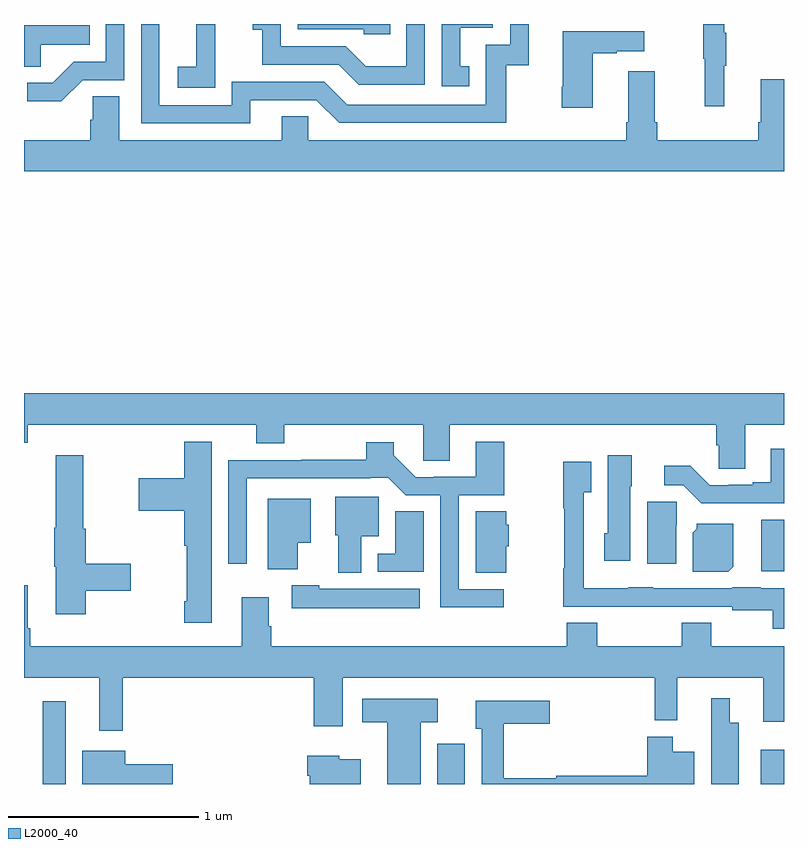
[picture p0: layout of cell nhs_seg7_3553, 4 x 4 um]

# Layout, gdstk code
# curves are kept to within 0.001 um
import gdstk
lib = gdstk.Library(unit=1e-6, precision=1e-09)
def R(c, l, rs):  # rectangles x0, y0, x1, y1
    for r in rs: c.add(gdstk.rectangle(r[:2], r[2:], *l))
def P(c, l, *ps):  # polygons
    for p in ps: c.add(gdstk.Polygon(p, *l))
L2000_40 = (2000, 40)

nhs_seg7_3553 = lib.new_cell('nhs_seg7_3553')
R(nhs_seg7_3553, L2000_40, [(337.098,1056,337.219,1056.436), (339.176,1056,339.319,1056.211), (340.877,1056,341,1056.181), (340.88,1057.121,341,1057.39)])
P(nhs_seg7_3553, L2000_40, [(338.927,1060),(338.442,1060),(338.442,1059.972),(338.787,1059.972),(338.787,1059.945),(338.927,1059.945)],
  [(337.308,1059.705),(337.527,1059.705),(337.527,1060),(337.431,1060),(337.431,1059.801),(337.262,1059.801),(337.151,1059.69),(337.017,1059.69),(337.017,1059.593),(337.195,1059.593)],
  [(339.108,1060),(339.012,1060),(339.012,1059.778),(338.798,1059.778),(338.694,1059.882),(338.352,1059.882),(338.352,1060),(338.205,1060),(338.205,1059.971),(338.254,1059.971),(338.254,1059.786),(338.657,1059.786),(338.762,1059.681),(339.108,1059.681)],
  [(339.344,1059.777),(339.295,1059.777),(339.295,1059.981),(339.468,1059.981),(339.468,1060),(339.198,1060),(339.198,1059.672),(339.344,1059.672)],
  [(340.685,1059.779),(340.696,1059.779),(340.696,1059.953),(340.685,1059.953),(340.685,1060),(340.575,1060),(340.575,1059.816),(340.582,1059.816),(340.582,1059.567),(340.685,1059.567)],
  [(338.191,1059.6),(338.538,1059.6),(338.658,1059.48),(339.538,1059.48),(339.538,1059.783),(339.656,1059.783),(339.656,1060),(339.558,1060),(339.558,1059.891),(339.429,1059.891),(339.429,1059.576),(338.7,1059.576),(338.58,1059.696),(338.094,1059.696),(338.094,1059.573),(337.713,1059.573),(337.713,1060),(337.617,1060),(337.617,1059.477),(338.191,1059.477)],
  [(338.007,1059.871),(338.006,1059.871),(338.006,1060),(337.907,1060),(337.907,1059.775),(337.809,1059.775),(337.809,1059.665),(338.007,1059.665)],
  [(337.089,1059.89),(337.346,1059.89),(337.346,1059.994),(337,1059.994),(337,1059.775),(337.089,1059.775)],
  [(339.994,1059.847),(340.121,1059.847),(340.121,1059.857),(340.264,1059.857),(340.264,1059.961),(339.836,1059.961),(339.836,1059.67),(339.829,1059.67),(339.829,1059.558),(339.994,1059.558)],
  [(341,1059.709),(340.877,1059.709),(340.877,1059.484),(340.865,1059.484),(340.865,1059.388),(340.334,1059.388),(340.334,1059.484),(340.321,1059.484),(340.321,1059.751),(340.181,1059.751),(340.181,1059.484),(340.169,1059.484),(340.169,1059.388),(338.496,1059.388),(338.496,1059.515),(338.357,1059.515),(338.357,1059.388),(337.501,1059.388),(337.501,1059.62),(337.362,1059.62),(337.362,1059.497),(337.349,1059.497),(337.349,1059.388),(337,1059.388),(337,1059.224),(341,1059.224)],
  [(340.795,1057.892),(341,1057.892),(341,1058.056),(337,1058.056),(337,1057.796),(337.019,1057.796),(337.019,1057.892),(338.222,1057.892),(338.222,1057.793),(338.37,1057.793),(338.37,1057.892),(339.102,1057.892),(339.102,1057.702),(339.241,1057.702),(339.241,1057.892),(340.643,1057.892),(340.643,1057.782),(340.656,1057.782),(340.656,1057.66),(340.795,1057.66)],
  [(339.526,1057.026),(339.288,1057.026),(339.288,1057.521),(339.528,1057.521),(339.528,1057.801),(339.377,1057.801),(339.377,1057.617),(339.157,1057.617),(339.157,1057.614),(339.063,1057.614),(338.947,1057.73),(338.947,1057.798),(338.8,1057.798),(338.8,1057.706),(338.458,1057.706),(338.458,1057.704),(338.076,1057.704),(338.076,1057.158),(338.172,1057.158),(338.173,1057.608),(338.822,1057.608),(338.822,1057.611),(338.918,1057.611),(339.008,1057.521),(339.192,1057.521),(339.192,1056.929),(339.526,1056.929)],
  [(337.987,1057.801),(337.844,1057.801),(337.844,1057.609),(337.605,1057.609),(337.605,1057.439),(337.844,1057.439),(337.844,1057.255),(337.856,1057.255),(337.856,1056.961),(337.844,1056.961),(337.844,1056.849),(337.987,1056.849)],
  [(341,1057.765),(340.931,1057.765),(340.931,1057.588),(340.835,1057.588),(340.835,1057.575),(340.708,1057.575),(340.708,1057.572),(340.608,1057.572),(340.506,1057.675),(340.371,1057.675),(340.371,1057.572),(340.47,1057.572),(340.564,1057.478),(341,1057.478)],
  [(337.325,1057.018),(337.561,1057.018),(337.561,1057.16),(337.325,1057.16),(337.325,1057.343),(337.312,1057.343),(337.312,1057.729),(337.166,1057.729),(337.166,1057.349),(337.159,1057.349),(337.159,1057.143),(337.166,1057.143),(337.166,1056.894),(337.325,1056.894)],
  [(340.192,1057.566),(340.198,1057.566),(340.198,1057.729),(340.073,1057.729),(340.073,1057.32),(340.055,1057.32),(340.055,1057.176),(340.192,1057.176)],
  [(341,1057.03),(340.878,1057.03),(340.878,1057.036),(340.728,1057.036),(340.728,1057.029),(340.311,1057.029),(340.311,1057.036),(340.179,1057.036),(340.179,1057.03),(339.945,1057.03),(339.945,1057.535),(339.985,1057.535),(339.985,1057.696),(339.837,1057.696),(339.837,1057.451),(339.844,1057.451),(339.844,1057.136),(339.837,1057.136),(339.837,1056.933),(340.079,1056.933),(340.079,1056.932),(340.311,1056.932),(340.311,1056.933),(340.728,1056.933),(340.728,1056.914),(340.941,1056.914),(340.941,1056.816),(341,1056.816)],
  [(338.776,1057.304),(338.866,1057.304),(338.866,1057.513),(338.639,1057.513),(338.639,1057.308),(338.654,1057.308),(338.654,1057.112),(338.776,1057.112)],
  [(338.44,1057.271),(338.509,1057.271),(338.509,1057.501),(338.282,1057.501),(338.282,1057.13),(338.44,1057.13)],
  [(340.432,1057.362),(340.436,1057.362),(340.436,1057.485),(340.28,1057.485),(340.28,1057.158),(340.432,1057.158)],
  [(339.538,1057.251),(339.55,1057.251),(339.55,1057.365),(339.538,1057.365),(339.538,1057.436),(339.377,1057.436),(339.377,1057.111),(339.538,1057.111)],
  [(339.103,1057.436),(338.954,1057.436),(338.954,1057.212),(338.861,1057.212),(338.861,1057.116),(339.103,1057.116)],
  [(340.732,1057.144),(340.732,1057.369),(340.542,1057.369),(340.542,1057.344),(340.52,1057.322),(340.52,1057.118),(340.706,1057.118)],
  [(337.519,1056.56),(338.525,1056.56),(338.525,1056.303),(338.677,1056.303),(338.677,1056.56),(340.321,1056.56),(340.321,1056.335),(340.439,1056.335),(340.439,1056.56),(340.892,1056.56),(340.892,1056.327),(341,1056.327),(341,1056.724),(340.617,1056.724),(340.617,1056.848),(340.462,1056.848),(340.462,1056.724),(340.017,1056.724),(340.017,1056.848),(339.857,1056.848),(339.857,1056.724),(338.3,1056.724),(338.3,1056.83),(338.287,1056.83),(338.287,1056.982),(338.147,1056.982),(338.147,1056.724),(337.034,1056.724),(337.034,1056.82),(337.021,1056.82),(337.021,1057.045),(337,1057.045),(337,1056.56),(337.397,1056.56),(337.397,1056.279),(337.519,1056.279)],
  [(339.082,1057.027),(338.553,1057.027),(338.553,1057.045),(338.409,1057.045),(338.409,1056.926),(339.082,1056.926)],
  [(340.762,1056.322),(340.715,1056.322),(340.715,1056.451),(340.617,1056.451),(340.617,1056.165),(340.616,1056.165),(340.616,1056),(340.762,1056)],
  [(339.088,1056.326),(339.178,1056.326),(339.178,1056.448),(338.781,1056.448),(338.781,1056.326),(338.912,1056.326),(338.912,1056),(339.088,1056)],
  [(340.528,1056.169),(340.414,1056.169),(340.414,1056.25),(340.28,1056.25),(340.28,1056.044),(339.801,1056.044),(339.801,1056.029),(339.524,1056.029),(339.524,1056.317),(339.766,1056.317),(339.766,1056.439),(339.377,1056.439),(339.377,1056.291),(339.408,1056.291),(339.408,1056),(340.528,1056)],
  [(337.783,1056.105),(337.534,1056.105),(337.534,1056.175),(337.307,1056.175),(337.307,1056),(337.783,1056)],
  [(338.773,1056.13),(338.658,1056.13),(338.658,1056.148),(338.492,1056.148),(338.492,1056.044),(338.504,1056.044),(338.504,1056),(338.773,1056)])

lib.write_gds('nhs_seg7_3553.gds')
